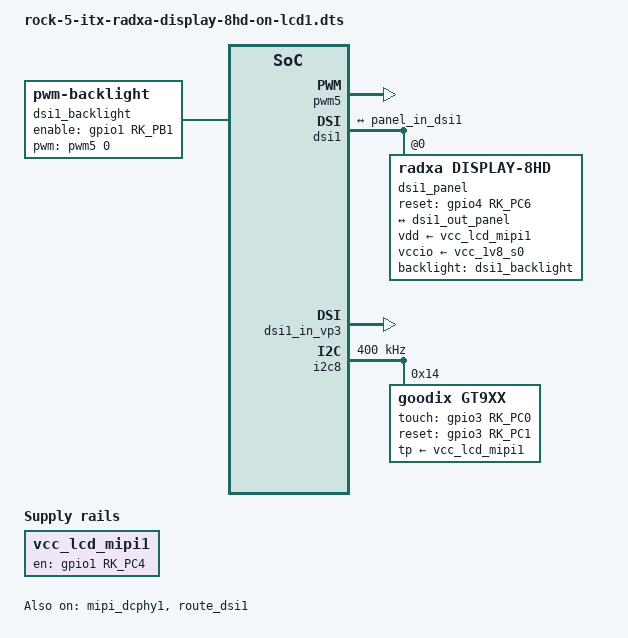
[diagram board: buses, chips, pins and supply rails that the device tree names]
/dts-v1/;
/plugin/;

#include <dt-bindings/interrupt-controller/irq.h>
#include <dt-bindings/gpio/gpio.h>
#include <dt-bindings/pinctrl/rockchip.h>

/ {
	metadata {
		title ="Enable Radxa Display 8HD on LCD1";
		compatible = "radxa,rock-5-itx";
		category = "display";
		exclusive = "dsi1", "vp3";
		description = "Enable Radxa Display 8HD on LCD1.";
	};

	fragment@0 {
		target-path = "/";

		__overlay__ {
			vcc_lcd_mipi1: vcc-lcd-mipi1 {
				status = "okay";
				compatible = "regulator-fixed";
				regulator-name = "vcc_lcd_mipi1";
				gpio = <&gpio1 RK_PC4 GPIO_ACTIVE_HIGH>;
				enable-active-high;
				regulator-boot-on;
				regulator-state-mem {
					regulator-off-in-suspend;
				};
			};

			dsi1_backlight: dsi1-backlight {
				status = "okay";
				compatible = "pwm-backlight";
				pwms = <&pwm5 0 25000 0>;
				brightness-levels = <
					0  20  20  21  21  22  22  23
					23  24  24  25  25  26  26  27
					27  28  28  29  29  30  30  31
					31  32  32  33  33  34  34  35
					35  36  36  37  37  38  38  39
					40  41  42  43  44  45  46  47
					48  49  50  51  52  53  54  55
					56  57  58  59  60  61  62  63
					64  65  66  67  68  69  70  71
					72  73  74  75  76  77  78  79
					80  81  82  83  84  85  86  87
					88  89  90  91  92  93  94  95
					96  97  98  99 100 101 102 103
					104 105 106 107 108 109 110 111
					112 113 114 115 116 117 118 119
					120 121 122 123 124 125 126 127
					128 129 130 131 132 133 134 135
					136 137 138 139 140 141 142 143
					144 145 146 147 148 149 150 151
					152 153 154 155 156 157 158 159
					160 161 162 163 164 165 166 167
					168 169 170 171 172 173 174 175
					176 177 178 179 180 181 182 183
					184 185 186 187 188 189 190 191
					192 193 194 195 196 197 198 199
					200 201 202 203 204 205 206 207
					208 209 210 211 212 213 214 215
					216 217 218 219 220 221 222 223
					224 225 226 227 228 229 230 231
					232 233 234 235 236 237 238 239
					240 241 242 243 244 245 246 247
					248 249 250 251 252 253 254 255
				>;
				default-brightness-level = <200>;
				enable-gpios = <&gpio1 RK_PB1 GPIO_ACTIVE_HIGH>;
				pinctrl-names = "default";
				pinctrl-0 = <&dsi1_backlight_en>;
			};
		};
	};

	fragment@1 {
		target = <&pwm5>;

		__overlay__ {
			status = "okay";
			pinctrl-names = "active";
			pinctrl-0 = <&pwm5m2_pins>;
		};
	};

	fragment@2 {
		target = <&dsi1>;

		__overlay__ {
			status = "okay";
			rockchip,lane-rate = <480>;
			#address-cells = <1>;
			#size-cells = <0>;

			dsi1_panel: panel@0 {
				status = "okay";
				compatible = "radxa,display-8hd";
				reg = <0>;
				backlight = <&dsi1_backlight>;

				vdd-supply = <&vcc_lcd_mipi1>;
				vccio-supply = <&vcc_1v8_s0>;
				reset-gpios = <&gpio4 RK_PC6 GPIO_ACTIVE_HIGH>;
				pinctrl-names = "default";
				pinctrl-0 = <&dsi1_lcd_rst_gpio>;

				ports {
					#address-cells = <1>;
					#size-cells = <0>;

					port@0 {
						reg = <0>;
						panel_in_dsi1: endpoint {
							remote-endpoint = <&dsi1_out_panel>;
						};
					};
				};
			};

			ports {
				#address-cells = <1>;
				#size-cells = <0>;

				port@1 {
					reg = <1>;
					dsi1_out_panel: endpoint {
						remote-endpoint = <&panel_in_dsi1>;
					};
				};
			};
		};
	};

	fragment@3 {
		target = <&mipi_dcphy1>;

		__overlay__ {
			status = "okay";
		};
	};

	fragment@4 {
		target = <&route_dsi1>;

		__overlay__ {
			status = "okay";
			connect = <&vp3_out_dsi1>;
		};
	};

	fragment@5 {
		target = <&dsi1_in_vp2>;

		__overlay__ {
			status = "disabled";
		};
	};

	fragment@6 {
		target = <&dsi1_in_vp3>;

		__overlay__ {
			status = "okay";
		};
	};

	fragment@7 {
		target = <&i2c8>;

		__overlay__ {
			status = "okay";
			pinctrl-names = "default";
			pinctrl-0 = <&i2c8m4_xfer>;
			clock-frequency = <400000>;
			#address-cells = <1>;
			#size-cells = <0>;

			gt9xx: gt9xx@14 {
				compatible = "goodix,gt9xx";
				reg = <0x14>;
				pinctrl-names = "default";
				pinctrl-0 = <&gt9xx_gpio>;
				touch-gpio = <&gpio3 RK_PC0 IRQ_TYPE_LEVEL_HIGH>;
				reset-gpio = <&gpio3 RK_PC1 GPIO_ACTIVE_HIGH>;
				max-x = <800>;
				max-y = <1280>;
				tp-size = <9112>;
				tp-supply = <&vcc_lcd_mipi1>;
			};
		};
	};

	fragment@8 {
		target = <&pinctrl>;

		__overlay__ {
			dsi1-lcd {
				dsi1_lcd_rst_gpio: dsi1-lcd-rst-gpio {
					rockchip,pins = <4 RK_PC6 RK_FUNC_GPIO &pcfg_pull_up>;
				};

				dsi1_backlight_en: dsi1-backlight-en {
					rockchip,pins = <1 RK_PB1 RK_FUNC_GPIO &pcfg_pull_up>;
				};
			};

			gt9xx {
				gt9xx_gpio: gt9xx-gpio {
					rockchip,pins =
						<3 RK_PC1 RK_FUNC_GPIO &pcfg_pull_none>,
						<3 RK_PC0 RK_FUNC_GPIO &pcfg_pull_up>;
				};
			};
		};
	};
};
